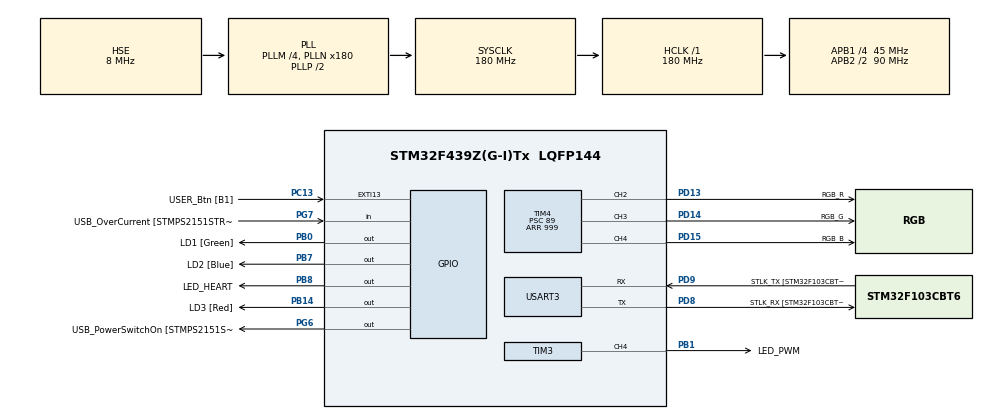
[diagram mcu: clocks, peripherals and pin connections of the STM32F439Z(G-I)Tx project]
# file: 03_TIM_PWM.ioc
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Mcu.Family=STM32F4
Mcu.Name=STM32F439Z(G-I)Tx
Mcu.Package=LQFP144
NVIC.PriorityGroup=NVIC_PRIORITYGROUP_4
PA13.GPIO_Label=TMS
PA13.Mode=Serial_Wire
PA13.Signal=SYS_JTMS-SWDIO
PA14.GPIO_Label=TCK
PA14.Mode=Serial_Wire
PA14.Signal=SYS_JTCK-SWCLK
PB0.GPIO_Label=LD1 [Green]
PB0.Signal=GPIO_Output
PB1.GPIO_Label=LED_PWM
PB1.Signal=S_TIM3_CH4
PB14.GPIO_Label=LD3 [Red]
PB14.Signal=GPIO_Output
PB7.GPIO_Label=LD2 [Blue]
PB7.Signal=GPIO_Output
PB8.GPIO_Label=LED_HEART
PB8.Signal=GPIO_Output
PC13.GPIO_Label=USER_Btn [B1]
PC13.Signal=GPXTI13
PC14/OSC32_IN.Mode=LSE-External-Oscillator
PC14/OSC32_IN.Signal=RCC_OSC32_IN
PC15/OSC32_OUT.Mode=LSE-External-Oscillator
PC15/OSC32_OUT.Signal=RCC_OSC32_OUT
PD13.GPIO_Label=RGB_R
PD13.Signal=S_TIM4_CH2
PD14.GPIO_Label=RGB_G
PD14.Signal=S_TIM4_CH3
PD15.GPIO_Label=RGB_B
PD15.Signal=S_TIM4_CH4
PD8.GPIO_Label=STLK_RX [STM32F103CBT6_PA3]
PD8.Mode=Asynchronous
PD8.Signal=USART3_TX
PD9.GPIO_Label=STLK_TX [STM32F103CBT6_PA2]
PD9.Mode=Asynchronous
PD9.Signal=USART3_RX
PG6.GPIO_Label=USB_PowerSwitchOn [STMPS2151STR_EN]
PG6.Signal=GPIO_Output
PG7.GPIO_Label=USB_OverCurrent [STMPS2151STR_FAULT]
PG7.Signal=GPIO_Input
PH0/OSC_IN.GPIO_Label=MCO [STM32F103CBT6_PA8]
PH0/OSC_IN.Mode=HSE-External-Oscillator
PH0/OSC_IN.Signal=RCC_OSC_IN
PH1/OSC_OUT.Mode=HSE-External-Oscillator
PH1/OSC_OUT.Signal=RCC_OSC_OUT
ProjectManager.HeapSize=0x200
ProjectManager.StackSize=0x400
ProjectManager.TargetToolchain=STM32CubeIDE
RCC.48MHZClocksFreq_Value=51428571.428571425
RCC.AHBFreq_Value=180000000
RCC.APB1CLKDivider=RCC_HCLK_DIV4
RCC.APB1Freq_Value=45000000
RCC.APB1TimFreq_Value=90000000
RCC.APB2CLKDivider=RCC_HCLK_DIV2
RCC.APB2Freq_Value=90000000
RCC.APB2TimFreq_Value=180000000
RCC.CortexFreq_Value=180000000
RCC.HCLKFreq_Value=180000000
RCC.HSE_VALUE=8000000
RCC.HSI_VALUE=16000000
RCC.PLLM=4
RCC.PLLMUL=RCC_PLL_MUL9
RCC.PLLN=180
RCC.PLLQ=7
RCC.PLLSourceVirtual=RCC_PLLSOURCE_HSE
RCC.PRESCALERUSB=RCC_USBCLKSOURCE_PLL_DIV1_5
RCC.SYSCLKFreq_VALUE=180000000
RCC.SYSCLKSource=RCC_SYSCLKSOURCE_PLLCLK
RCC.SYSCLKSourceVirtual=RCC_SYSCLKSOURCE_PLLCLK
RCC.USBFreq_Value=48000000
RCC.VCOOutputFreq_Value=360000000
SH.S_TIM3_CH4.0=TIM3_CH4,PWM Generation4 CH4
SH.S_TIM4_CH2.0=TIM4_CH2,PWM Generation2 CH2
SH.S_TIM4_CH3.0=TIM4_CH3,PWM Generation3 CH3
SH.S_TIM4_CH4.0=TIM4_CH4,PWM Generation4 CH4
TIM3.Channel-PWM\ Generation4\ CH4=TIM_CHANNEL_4
TIM3.Period=999
TIM3.Prescaler=89
TIM4.Channel-PWM\ Generation2\ CH2=TIM_CHANNEL_2
TIM4.Channel-PWM\ Generation3\ CH3=TIM_CHANNEL_3
TIM4.Channel-PWM\ Generation4\ CH4=TIM_CHANNEL_4
TIM4.Period=999
TIM4.Prescaler=89
USART3.VirtualMode=VM_ASYNC
VP_TIM3_VS_ClockSourceINT.Mode=Internal
VP_TIM4_VS_ClockSourceINT.Mode=Internal
board=NUCLEO-F439ZI

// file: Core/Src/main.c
/* USER CODE BEGIN Header */
/**
 ******************************************************************************
 * @file           : main.c
 * @brief          : Main program body
 ******************************************************************************
 * @attention
 *
 * Copyright (c) 2026 STMicroelectronics.
 * All rights reserved.
 *
 * This software is licensed under terms that can be found in the LICENSE file
 * in the root directory of this software component.
 * If no LICENSE file comes with this software, it is provided AS-IS.
 *
 ******************************************************************************
 */
/* USER CODE END Header */
#include "main.h"

/* USER CODE BEGIN Includes */
#include "rgb_led.h"
/* USER CODE END Includes */

TIM_HandleTypeDef htim3;
TIM_HandleTypeDef htim4;

UART_HandleTypeDef huart3;

/* USER CODE BEGIN PV */

/* --- Variables de control (globales o estáticas) --- */
uint16_t pwm_duty = 0;       // Ciclo de trabajo actual
int8_t fade_step = 5;        // Velocidad del cambio

/* --- Instancia del Objeto LED RGB --- */
rgb_led_t ledRGB;

/* --- Definición del Planificador --- */
typedef struct {
    void (*pTask)(void);    // Puntero a la función de la tarea
    uint32_t period;        // Período de ejecución en ms
    uint32_t lastTick;      // Último tiempo de ejecución
} Task_t;

/* USER CODE END PV */

void SystemClock_Config(void);
static void MX_GPIO_Init(void);
static void MX_USART3_UART_Init(void);
static void MX_TIM3_Init(void);
static void MX_TIM4_Init(void);
/* USER CODE BEGIN PFP */

/* --- Prototipos de las Tareas --- */
void Task_Heartbeat(void);
void Task_BreathingLED(void);
void Task_RGB_Update(void);

/* --- Funciones Auxiliares --- */
void Tarea_LED_Breathing(void);

/* USER CODE END PFP */

/* USER CODE BEGIN 0 */

/* --- Tabla de Tareas --- */
Task_t taskTable[] = {
	{ Task_BreathingLED, 15, 0 },	// Tarea 1: Cada 15ms
	{ Task_RGB_Update,  30, 0 },	// Tarea 2: Cada 30ms
	{ Task_Heartbeat,  500, 0 }		// Tarea 3: Cada 500ms
};
#define NUM_TASKS (sizeof(taskTable)/sizeof(Task_t))

/* --- Definicion de las Tareas del Planificador --- */
void Task_Heartbeat(void) {
    HAL_GPIO_TogglePin(LED_HEART_GPIO_Port, LED_HEART_Pin);
}

void Task_BreathingLED(void) {
    // Aquí vive tu lógica del CH4 del TIM3
    Tarea_LED_Breathing();
}

void Task_RGB_Update(void) {
    // Llamada a la tarea del drivers
    RGB_LED_Task(&ledRGB, 30, 5);
}

/* --- Definicion de Tareas Auxiliares --- */

/* --- Definicion de efecto respiro en LED con PWN --- */
void Tarea_LED_Breathing(void) {
	// Actualizamos el valor del ciclo de trabajo
	pwm_duty += fade_step;

	// Invertimos la dirección al llegar a los extremos
	if (pwm_duty >= 1000) {
		pwm_duty = 1000;
		fade_step = -5;
	}
	else if (pwm_duty <= 0) {
		pwm_duty = 0;
		fade_step = 5;
	}

	// Escribimos directamente en el registro de comparación del Timer 3 Canal 4
	__HAL_TIM_SET_COMPARE(&htim3, TIM_CHANNEL_4, pwm_duty);
}

/**
 * @brief Implementación específica de PWM para STM32
 */
void STM32_PWM_Write(generic_pwm_t ch, uint16_t value) {
    // Cast del handle genérico al tipo de ST
    __HAL_TIM_SET_COMPARE((TIM_HandleTypeDef*)ch.timer_handle, ch.channel, value);
}

/**
 * @brief Implementación específica de Tick para STM32
 */
uint32_t STM32_GetTick(void) {
    return HAL_GetTick();
}

/* USER CODE END 0 */

int main(void)
{

  /* MCU Configuration--------------------------------------------------------*/

  /* Reset of all peripherals, Initializes the Flash interface and the Systick. */
  HAL_Init();

  /* Configure the system clock */
  SystemClock_Config();

  /* Initialize all configured peripherals */
  MX_GPIO_Init();
  MX_USART3_UART_Init();
  MX_TIM3_Init();
  MX_TIM4_Init();
  /* USER CODE BEGIN 2 */

	//***********************Configuracion del LED RGB Anodo Comun***********************
	/* 1. Configuración de la PAL (Puente Hardware-Software) */
	    hal_interface_t stm32_pal = {
	        .pwm_write = STM32_PWM_Write,
	        .get_tick  = STM32_GetTick
	    };

	    /* 2. Definición de canales PWM genéricos */
	    generic_pwm_t ch_r = { .timer_handle = &htim4, .channel = TIM_CHANNEL_2 };
	    generic_pwm_t ch_g = { .timer_handle = &htim4, .channel = TIM_CHANNEL_3 };
	    generic_pwm_t ch_b = { .timer_handle = &htim4, .channel = TIM_CHANNEL_4 };

	    /* 3. Inicialización del Driver RGB */
	    RGB_LED_Init(&ledRGB, ch_r, ch_g, ch_b, RGB_ANODE_COMMON, 700, stm32_pal);

	    /* 4. Iniciar hardware de Timers (Específico de ST) */
	    HAL_TIM_PWM_Start(&htim4, TIM_CHANNEL_2);
	    HAL_TIM_PWM_Start(&htim4, TIM_CHANNEL_3);
	    HAL_TIM_PWM_Start(&htim4, TIM_CHANNEL_4);

	    /* 5. Iniciar efecto */
	    RGB_LED_StartRainbow(&ledRGB);

	//***********************Timer que maneja el led externo***********************
	// Encendemos el timer que maneja el usr_led
	HAL_TIM_PWM_Start(&htim3, TIM_CHANNEL_4);

  /* USER CODE END 2 */

  /* Infinite loop */
	while (1)
	{

    /* USER CODE BEGIN 3 */

		/* --- Multitask con Planificador --- */

		uint32_t currentTick = HAL_GetTick();

		        for (int i = 0; i < NUM_TASKS; i++) {
		            if (currentTick - taskTable[i].lastTick >= taskTable[i].period) {
		                taskTable[i].lastTick = currentTick;
		                taskTable[i].pTask(); // Ejecución de la tarea
		            }
		        }
	}
  /* USER CODE END 3 */
}

void SystemClock_Config(void)
{
  RCC_OscInitTypeDef RCC_OscInitStruct = {0};
  RCC_ClkInitTypeDef RCC_ClkInitStruct = {0};

  /** Configure the main internal regulator output voltage
  */
  __HAL_RCC_PWR_CLK_ENABLE();
  __HAL_PWR_VOLTAGESCALING_CONFIG(PWR_REGULATOR_VOLTAGE_SCALE1);

  /** Initializes the RCC Oscillators according to the specified parameters
  * in the RCC_OscInitTypeDef structure.
  */
  RCC_OscInitStruct.OscillatorType = RCC_OSCILLATORTYPE_HSE;
  RCC_OscInitStruct.HSEState = RCC_HSE_ON;
  RCC_OscInitStruct.PLL.PLLState = RCC_PLL_ON;
  RCC_OscInitStruct.PLL.PLLSource = RCC_PLLSOURCE_HSE;
  RCC_OscInitStruct.PLL.PLLM = 4;
  RCC_OscInitStruct.PLL.PLLN = 180;
  RCC_OscInitStruct.PLL.PLLP = RCC_PLLP_DIV2;
  RCC_OscInitStruct.PLL.PLLQ = 7;
  if (HAL_RCC_OscConfig(&RCC_OscInitStruct) != HAL_OK)
  {
    Error_Handler();
  }

  /** Activate the Over-Drive mode
  */
  if (HAL_PWREx_EnableOverDrive() != HAL_OK)
  {
    Error_Handler();
  }

  /** Initializes the CPU, AHB and APB buses clocks
  */
  RCC_ClkInitStruct.ClockType = RCC_CLOCKTYPE_HCLK|RCC_CLOCKTYPE_SYSCLK
                              |RCC_CLOCKTYPE_PCLK1|RCC_CLOCKTYPE_PCLK2;
  RCC_ClkInitStruct.SYSCLKSource = RCC_SYSCLKSOURCE_PLLCLK;
  RCC_ClkInitStruct.AHBCLKDivider = RCC_SYSCLK_DIV1;
  RCC_ClkInitStruct.APB1CLKDivider = RCC_HCLK_DIV4;
  RCC_ClkInitStruct.APB2CLKDivider = RCC_HCLK_DIV2;

  if (HAL_RCC_ClockConfig(&RCC_ClkInitStruct, FLASH_LATENCY_5) != HAL_OK)
  {
    Error_Handler();
  }
}

static void MX_TIM3_Init(void)
{

  TIM_ClockConfigTypeDef sClockSourceConfig = {0};
  TIM_MasterConfigTypeDef sMasterConfig = {0};
  TIM_OC_InitTypeDef sConfigOC = {0};

  htim3.Instance = TIM3;
  htim3.Init.Prescaler = 89;
  htim3.Init.CounterMode = TIM_COUNTERMODE_UP;
  htim3.Init.Period = 999;
  htim3.Init.ClockDivision = TIM_CLOCKDIVISION_DIV1;
  htim3.Init.AutoReloadPreload = TIM_AUTORELOAD_PRELOAD_DISABLE;
  if (HAL_TIM_Base_Init(&htim3) != HAL_OK)
  {
    Error_Handler();
  }
  sClockSourceConfig.ClockSource = TIM_CLOCKSOURCE_INTERNAL;
  if (HAL_TIM_ConfigClockSource(&htim3, &sClockSourceConfig) != HAL_OK)
  {
    Error_Handler();
  }
  if (HAL_TIM_PWM_Init(&htim3) != HAL_OK)
  {
    Error_Handler();
  }
  sMasterConfig.MasterOutputTrigger = TIM_TRGO_RESET;
  sMasterConfig.MasterSlaveMode = TIM_MASTERSLAVEMODE_DISABLE;
  if (HAL_TIMEx_MasterConfigSynchronization(&htim3, &sMasterConfig) != HAL_OK)
  {
    Error_Handler();
  }
  sConfigOC.OCMode = TIM_OCMODE_PWM1;
  sConfigOC.Pulse = 0;
  sConfigOC.OCPolarity = TIM_OCPOLARITY_HIGH;
  sConfigOC.OCFastMode = TIM_OCFAST_DISABLE;
  if (HAL_TIM_PWM_ConfigChannel(&htim3, &sConfigOC, TIM_CHANNEL_4) != HAL_OK)
  {
    Error_Handler();
  }
  HAL_TIM_MspPostInit(&htim3);

}

static void MX_TIM4_Init(void)
{

  TIM_ClockConfigTypeDef sClockSourceConfig = {0};
  TIM_MasterConfigTypeDef sMasterConfig = {0};
  TIM_OC_InitTypeDef sConfigOC = {0};

  htim4.Instance = TIM4;
  htim4.Init.Prescaler = 89;
  htim4.Init.CounterMode = TIM_COUNTERMODE_UP;
  htim4.Init.Period = 999;
  htim4.Init.ClockDivision = TIM_CLOCKDIVISION_DIV1;
  htim4.Init.AutoReloadPreload = TIM_AUTORELOAD_PRELOAD_DISABLE;
  if (HAL_TIM_Base_Init(&htim4) != HAL_OK)
  {
    Error_Handler();
  }
  sClockSourceConfig.ClockSource = TIM_CLOCKSOURCE_INTERNAL;
  if (HAL_TIM_ConfigClockSource(&htim4, &sClockSourceConfig) != HAL_OK)
  {
    Error_Handler();
  }
  if (HAL_TIM_PWM_Init(&htim4) != HAL_OK)
  {
    Error_Handler();
  }
  sMasterConfig.MasterOutputTrigger = TIM_TRGO_RESET;
  sMasterConfig.MasterSlaveMode = TIM_MASTERSLAVEMODE_DISABLE;
  if (HAL_TIMEx_MasterConfigSynchronization(&htim4, &sMasterConfig) != HAL_OK)
  {
    Error_Handler();
  }
  sConfigOC.OCMode = TIM_OCMODE_PWM1;
  sConfigOC.Pulse = 0;
  sConfigOC.OCPolarity = TIM_OCPOLARITY_HIGH;
  sConfigOC.OCFastMode = TIM_OCFAST_DISABLE;
  if (HAL_TIM_PWM_ConfigChannel(&htim4, &sConfigOC, TIM_CHANNEL_2) != HAL_OK)
  {
    Error_Handler();
  }
  if (HAL_TIM_PWM_ConfigChannel(&htim4, &sConfigOC, TIM_CHANNEL_3) != HAL_OK)
  {
    Error_Handler();
  }
  if (HAL_TIM_PWM_ConfigChannel(&htim4, &sConfigOC, TIM_CHANNEL_4) != HAL_OK)
  {
    Error_Handler();
  }
  HAL_TIM_MspPostInit(&htim4);

}

static void MX_USART3_UART_Init(void)
{

  huart3.Instance = USART3;
  huart3.Init.BaudRate = 115200;
  huart3.Init.WordLength = UART_WORDLENGTH_8B;
  huart3.Init.StopBits = UART_STOPBITS_1;
  huart3.Init.Parity = UART_PARITY_NONE;
  huart3.Init.Mode = UART_MODE_TX_RX;
  huart3.Init.HwFlowCtl = UART_HWCONTROL_NONE;
  huart3.Init.OverSampling = UART_OVERSAMPLING_16;
  if (HAL_UART_Init(&huart3) != HAL_OK)
  {
    Error_Handler();
  }

}

static void MX_GPIO_Init(void)
{
  GPIO_InitTypeDef GPIO_InitStruct = {0};

  /* GPIO Ports Clock Enable */
  __HAL_RCC_GPIOC_CLK_ENABLE();
  __HAL_RCC_GPIOH_CLK_ENABLE();
  __HAL_RCC_GPIOB_CLK_ENABLE();
  __HAL_RCC_GPIOD_CLK_ENABLE();
  __HAL_RCC_GPIOG_CLK_ENABLE();
  __HAL_RCC_GPIOA_CLK_ENABLE();

  /*Configure GPIO pin Output Level */
  HAL_GPIO_WritePin(GPIOB, LD1_Pin|LD3_Pin|LD2_Pin|LED_HEART_Pin, GPIO_PIN_RESET);

  /*Configure GPIO pin Output Level */
  HAL_GPIO_WritePin(USB_PowerSwitchOn_GPIO_Port, USB_PowerSwitchOn_Pin, GPIO_PIN_RESET);

  /*Configure GPIO pin : USER_Btn_Pin */
  GPIO_InitStruct.Pin = USER_Btn_Pin;
  GPIO_InitStruct.Mode = GPIO_MODE_IT_RISING;
  GPIO_InitStruct.Pull = GPIO_NOPULL;
  HAL_GPIO_Init(USER_Btn_GPIO_Port, &GPIO_InitStruct);

  /*Configure GPIO pins : LD1_Pin LD3_Pin LD2_Pin LED_HEART_Pin */
  GPIO_InitStruct.Pin = LD1_Pin|LD3_Pin|LD2_Pin|LED_HEART_Pin;
  GPIO_InitStruct.Mode = GPIO_MODE_OUTPUT_PP;
  GPIO_InitStruct.Pull = GPIO_NOPULL;
  GPIO_InitStruct.Speed = GPIO_SPEED_FREQ_LOW;
  HAL_GPIO_Init(GPIOB, &GPIO_InitStruct);

  /*Configure GPIO pin : USB_PowerSwitchOn_Pin */
  GPIO_InitStruct.Pin = USB_PowerSwitchOn_Pin;
  GPIO_InitStruct.Mode = GPIO_MODE_OUTPUT_PP;
  GPIO_InitStruct.Pull = GPIO_NOPULL;
  GPIO_InitStruct.Speed = GPIO_SPEED_FREQ_LOW;
  HAL_GPIO_Init(USB_PowerSwitchOn_GPIO_Port, &GPIO_InitStruct);

  /*Configure GPIO pin : USB_OverCurrent_Pin */
  GPIO_InitStruct.Pin = USB_OverCurrent_Pin;
  GPIO_InitStruct.Mode = GPIO_MODE_INPUT;
  GPIO_InitStruct.Pull = GPIO_NOPULL;
  HAL_GPIO_Init(USB_OverCurrent_GPIO_Port, &GPIO_InitStruct);

}

void Error_Handler(void)
{
	__disable_irq();
	while (1)
	{
	}
}
